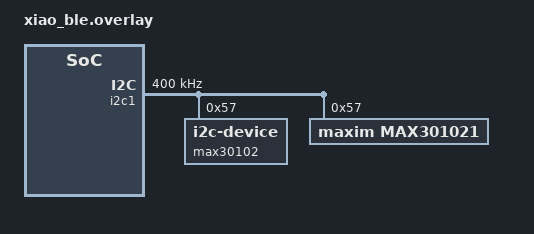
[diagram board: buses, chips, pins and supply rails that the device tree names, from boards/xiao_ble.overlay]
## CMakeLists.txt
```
list(APPEND EXTRA_ZEPHYR_MODULES
    ${CMAKE_CURRENT_SOURCE_DIR}/drivers
)    

cmake_minimum_required(VERSION 3.20.0)
find_package(Zephyr REQUIRED HINTS $ENV{ZEPHYR_BASE})

project(TimelapseSensor)

target_sources(app PRIVATE 
    src/main.c
    src/GenericCentralApp.c
    src/scs_client.c
    src/iir_filter.c)
```

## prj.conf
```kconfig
CONFIG_LOG=y
CONFIG_I2C=y
CONFIG_BOOT_DELAY=5000

CONFIG_BT=y
CONFIG_BT_PERIPHERAL=y
CONFIG_BT_CENTRAL=y
CONFIG_BT_DEVICE_NAME="TimelapseSensor"
CONFIG_BT_GATT_CLIENT=y
CONFIG_BT_GATT_DM=y
CONFIG_HEAP_MEM_POOL_SIZE=2048
CONFIG_MAIN_STACK_SIZE=1536

CONFIG_BT_SMP=y
CONFIG_BT_GATT_DM_DATA_PRINT=y
CONFIG_BT_SETTINGS=y
CONFIG_FLASH=y
CONFIG_FLASH_PAGE_LAYOUT=y
CONFIG_FLASH_MAP=y
CONFIG_NVS=y
CONFIG_SETTINGS=y
CONFIG_BT_KEYS_OVERWRITE_OLDEST=y

CONFIG_BT_SCAN=y
CONFIG_BT_SCAN_FILTER_ENABLE=y
CONFIG_CBPRINTF_FP_SUPPORT=y

CONFIG_STDOUT_CONSOLE=y

CONFIG_USB_DEVICE_PRODUCT="Zephyr CDC ACM sample"
CONFIG_USB_DEVICE_PID=0x0001

CONFIG_USB_DRIVER_LOG_LEVEL_ERR=y
CONFIG_USB_DEVICE_LOG_LEVEL_ERR=y

CONFIG_UART_INTERRUPT_DRIVEN=y
CONFIG_UART_LINE_CTRL=y
CONFIG_USB_DEVICE_INITIALIZE_AT_BOOT=y

CONFIG_MAX30102_DRIVER=y
CONFIG_APPLICATION_DEFINED_SYSCALL=y
```

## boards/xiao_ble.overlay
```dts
// To get started, press Ctrl+Space (or Option+Esc) to bring up the completion menu and view the available nodes.

// You can also use the buttons in the sidebar to perform actions on nodes.
// Actions currently available include:

// * Enabling / disabling the node
// * Adding the bus to a bus
// * Removing the node
// * Connecting ADC channels

// For more help, browse the DeviceTree documentation at https://docs.zephyrproject.org/latest/guides/dts/index.html
// You can also visit the nRF DeviceTree extension documentation at https://nrfconnect.github.io/vscode-nrf-connect/devicetree/nrfdevicetree.html

&i2c1{

    max30102: max30102@57{
        compatible = "i2c-device";
        reg = <0x57>;
    };

    max301021:max301021@57{
        compatible = "maxim,max301021";
        status = "okay";
        reg = <0x57>;
    };

    clock-frequency = <I2C_BITRATE_FAST>;
};
```

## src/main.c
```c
#include <zephyr/kernel.h>
#include <zephyr/drivers/i2c.h>
#include <zephyr/drivers/gpio.h>
#include <zephyr/logging/log.h>
#include <zephyr/bluetooth/bluetooth.h>
#include <zephyr/bluetooth/gap.h>
#include <zephyr/bluetooth/uuid.h>
#include <zephyr/settings/settings.h>
#include <zephyr/logging/log_instance.h>
#include <zephyr/shell/shell.h>
#include <zephyr/drivers/uart.h>
#include <zephyr/usb/usb_device.h>
#include <zephyr/sys/reboot.h>
#include <zephyr/sys/ring_buffer.h>
#include "GenericCentralApp.h"
#include "scs_client.h"
#include "iir_filter.h"
#include "max30102_driver_i2c.h"

#define I2C1_NODE DT_NODELABEL(max30102)
#define SENSOR_NODE DT_NODELABEL(max301021)
#define LED0_NODE DT_ALIAS(led0)
#define LED1_NODE DT_ALIAS(led1)
#define LED2_NONE DT_ALIAS(led2)
#define GPIO_BATTERY_READ_ENABLE 14
#define FOCUS_TIMEOUT K_MSEC(5000)

LOG_MODULE_REGISTER(Main, LOG_LEVEL_DBG);

static const struct gpio_dt_spec led_red = GPIO_DT_SPEC_GET(LED0_NODE, gpios);
static const struct gpio_dt_spec led_green = GPIO_DT_SPEC_GET(LED1_NODE, gpios);
static const struct gpio_dt_spec led_blue = GPIO_DT_SPEC_GET(LED2_NONE, gpios);
const struct device *const console_dev = DEVICE_DT_GET(DT_CHOSEN(zephyr_console));
const struct device *max30102_dev = DEVICE_DT_GET(SENSOR_NODE);
static const struct device *gpio_rdivider_en = DEVICE_DT_GET(DT_NODELABEL(gpio0));
static struct k_work_delayable scs_timeout;
static struct k_work_delayable proximity_timeout;

static struct bt_scs_client scs_client;

const bt_addr_t pheriphral_addr = {
	.val = {0x3a, 0xe0, 0xdb, 0xef, 0x40, 0xd0}};

const uint8_t pheriphral_manufacture_data_normal_mode[] = {0x2d, 0x01, 0x03, 0x00, 0x64, 0x00, 0x45, 0x31, 0x22, 0xaf, 0x00, 0x21, 0x60, 0x00, 0x00, 0x00, 0x00, 0x00, 0x00, 0x00, 0x00};
const uint8_t pheriphral_manufacture_data_pairing_mode[] = {0x2d, 0x01, 0x03, 0x00, 0x64, 0x00, 0x45, 0x31, 0x22, 0xef, 0x00, 0x21, 0x60, 0x00, 0x00, 0x00, 0x00, 0x00, 0x00, 0x00, 0x00};

#define DEVICE_NAME CONFIG_BT_DEVICE_NAME
#define DEVICE_NAME_LEN (sizeof(DEVICE_NAME) - 1)
#define BT_UUID_LBS_VAL BT_UUID_128_ENCODE(0x00001523, 0x1212, 0xefde, 0x1523, 0x785feabcd123)

static struct bt_le_adv_param *adv_param = BT_LE_ADV_PARAM((BT_LE_ADV_OPT_CONNECTABLE | BT_LE_ADV_OPT_USE_IDENTITY), 800, 801, NULL);

static const struct bt_data ad[] = {
    BT_DATA_BYTES(BT_DATA_FLAGS, (BT_LE_AD_NO_BREDR | BT_LE_AD_GENERAL)),
    BT_DATA(BT_DATA_NAME_COMPLETE, DEVICE_NAME, DEVICE_NAME_LEN),
};

static const struct bt_data sd[] = {
    BT_DATA_BYTES(BT_DATA_UUID128_ALL, BT_UUID_LBS_VAL),
};

#define RING_BUF_SIZE 1024
uint8_t ring_buffer[RING_BUF_SIZE];

struct ring_buf ringbuf;

static bool rx_throttled;
static uint8_t cmd;
static void  camera_ready(void);
static void camera_inactive(void);

const conn_context_t conn_context = {
        .srv_uuid_128 = "8000ff00-ff00-ffff-ffff-ffffffffffff",
        .scs_client = &scs_client,
        .device_ready = camera_ready,
        .device_inactive = camera_inactive
};

enum {
        SENSOR_STATUS_PROXIMITY,
        SENSOR_STATUS_FAR,
};

enum{
        TRIGGER_STATUS_INACTIVE,
        TRIGGER_STATUS_ACTIVE,
        TRIGGER_STATUS_READY
};

uint8_t trigger_status; 
uint8_t sensor_status;

static iir_filter_data_t *filt;

void mainloop(int err);

static void camera_ready(void)
{
        trigger_status = TRIGGER_STATUS_READY;
        sensor_status = SENSOR_STATUS_FAR;
}

static void camera_inactive(void)
{
        trigger_status = TRIGGER_STATUS_INACTIVE;
}

static void camera_cmd_sent(struct bt_scs_client *scs, uint8_t err,
					const uint8_t *const data, uint16_t len)
{
        
	ARG_UNUSED(scs);
	ARG_UNUSED(data);
	ARG_UNUSED(len);

	if (err) 
        {
		printk("ATT error code: 0x%02X\n", err);
	}
        else
        {
                LOG_HEXDUMP_INF(data,len,"cmd sent callback");
                printk("cmd send ok\n");
        }
}

static void scs_timeout_cb(struct k_work *item)
{
        uint8_t cmd[2];
        printk("Focus Timeout\n");
        cmd[0] = 0x01;
	cmd[1] = 0x08;
	bt_scs_client_send_camera_cmd(&scs_client, cmd,2);
        trigger_status = TRIGGER_STATUS_READY;
}
static uint8_t camera_status_received(struct bt_scs_client *scs,
						const uint8_t *data, uint16_t len)
{
	ARG_UNUSED(scs);
        uint8_t status[]= {0x02,0x3f,0x20};
        uint8_t cmd[2];

        //TODO: Proper state machine to serialize the gatt trigger 
        if (memcmp(data,status, len) == 0 && trigger_status == TRIGGER_STATUS_ACTIVE)
        {
                cmd[0] = 0x01;
	        cmd[1] = 0x09;
                bt_scs_client_send_camera_cmd(&scs_client, cmd,2);
        }
        status[2] = 0x40;
        if (memcmp(data,status, len) == 0 && trigger_status == TRIGGER_STATUS_ACTIVE)
        {
                cmd[0] = 0x01;
	        cmd[1] = 0x09;
                bt_scs_client_send_camera_cmd(&scs_client, cmd,2);
        }

        status[1] = 0xa0;
        status[2] = 0x20; 
        if(memcmp(data,status,len) == 0 && trigger_status == TRIGGER_STATUS_ACTIVE)
        {
                cmd[0] = 0x01;
	        cmd[1] = 0x08;
	        bt_scs_client_send_camera_cmd(&scs_client, cmd,2);
        }

        status[1] = 0xa0;
        status[2] = 0x00;
        if(memcmp(data,status,len) == 0 && trigger_status == TRIGGER_STATUS_ACTIVE)
        {
                cmd[0] = 0x01;
	        cmd[1] = 0x06;
	        bt_scs_client_send_camera_cmd(&scs_client, cmd,2);
                trigger_status = TRIGGER_STATUS_READY;
                k_work_cancel_delayable(&scs_timeout);
        }

        LOG_HEXDUMP_INF(data,len,"Received");
	return BT_GATT_ITER_CONTINUE;
}

struct bt_scs_client_init_param init = {
        .cb = {
                .received = camera_status_received,
                .sent = camera_cmd_sent}};

void device_found(const bt_addr_le_t *addr, const struct bt_le_conn_param *conn_param)
{    
        create_le_connnection(&conn_context, addr, conn_param);
}

const scan_context_t scan_context = {
        .pheriphral_addr = 
        {
                .val = {0x3a, 0xe0, 0xdb, 0xef, 0x40, 0xd0}
        },
        .pheriphral_manufacture_data_normal_mode = pheriphral_manufacture_data_normal_mode,
        .pheriphral_manufacture_data_pairing_mode = pheriphral_manufacture_data_pairing_mode,
        .pheriphral_manufacture_data_len = 21,
        .pheriphral_found = device_found
};

#define CALIBRATION_DURATION_MS 10000

void reset_to_uf2(void) {
  printk("resetting .. \n");      
  NRF_POWER->GPREGRET = 0x57; // 0xA8 OTA, 0x4e Serial
  sys_reboot(SYS_REBOOT_COLD);  // NVIC_SystemReset(); or sd_nvic_SystemReset();
}

static void proximity_timeout_cb(struct k_work *item)
{
       sensor_status = SENSOR_STATUS_FAR;
       max30102_reset(max30102_dev);
       k_msleep(10);
       max30102_configure(max30102_dev,7,20); 
}

void mainloop(int err)
{
        float high_point = 0 , low_point = 2000000;
        float proximity;
        uint32_t calibration_start = k_uptime_get_32() + 10000;
        uint32_t calibration_stop = k_uptime_get_32() + 30000;
        uint32_t current_time;

	
        while (1)
        {
                switch (cmd)
                {
                case 'r':
                        reset_to_uf2();
                        break;
                case 'h':
                        max30102_reset(max30102_dev);
                        k_msleep(10);
                        max30102_configure(max30102_dev,7,20);
                        calibration_start = k_uptime_get_32()+ 10000;
                        calibration_stop = k_uptime_get_32() + 20000;
                        high_point = 0;
                        low_point = 2000000;
                        iir_filter_reset(filt);
                        printk("Resetting, wait for 10s...");
                        break;
                case 'l':
                        max30102_reset(max30102_dev);
                        k_msleep(10);
                        max30102_configure(max30102_dev,7,15);
                        calibration_start = k_uptime_get_32()+ 10000;
                        calibration_stop = k_uptime_get_32() + 20000;
                        high_point = 0;
                        low_point = 2000000;
                        iir_filter_reset(filt);
                        printk("Resetting, wait for 10s...");
                        break;
                default:
                        break;
                }
                cmd = '\0';
                if (!err)
                {
                        proximity = max30102_read_ir_data(max30102_dev);
                        proximity = iir_filter(filt, proximity);

                        current_time = k_uptime_get_32();
                         
                        if(current_time > calibration_start && current_time < calibration_stop)
                        {
                                gpio_pin_set_dt(&led_blue,1);
                                gpio_pin_set_dt(&led_red, 0);
                                gpio_pin_set_dt(&led_green,0);
                                if(high_point < proximity)
                                {
                                        high_point = proximity;
                                }

                                if(low_point > proximity)
                                {
                                        low_point = proximity;
                                }

                                printk(">proximity : %f , high point : %f , low point : %f  trigger: %d,  sensor : %d\n", proximity,high_point,low_point, trigger_status,sensor_status);
                        }   
                        else if(current_time > calibration_stop && 
                               (((high_point -500) - (low_point+500)) > 500) && 
                               ((high_point-500) > (low_point+500)))         
                        {      
                                if(trigger_status == TRIGGER_STATUS_ACTIVE)
                                {
                                        gpio_pin_set_dt(&led_green,1);
                                        gpio_pin_set_dt(&led_red, 0);
                                        gpio_pin_set_dt(&led_blue,0);
                                }
                                else
                                {
                                        gpio_pin_set_dt(&led_blue,0);
                                        gpio_pin_set_dt(&led_red, 1);
                                        gpio_pin_set_dt(&led_green,0);
                                }
                                
                                if(proximity > (high_point - 500) && sensor_status == SENSOR_STATUS_FAR)
                                {       
                                        printk("extruder proximity detected\n");
                                        sensor_status = SENSOR_STATUS_PROXIMITY;
                                        k_work_schedule(&proximity_timeout,K_MSEC(10000));
                                        printk(">proximity : %f , high point : %f , low point : %f  trigger: %d,  sensor : %d\n", proximity,high_point,low_point, trigger_status,sensor_status);
                                        if(trigger_status == TRIGGER_STATUS_READY)
                                        {
                                                trigger_status = TRIGGER_STATUS_ACTIVE;
                                                k_work_schedule(&scs_timeout, FOCUS_TIMEOUT);
                                                bt_scs_trigger_capture(&scs_client);
                                        }
                                }
                                if(proximity < (low_point + 500) && sensor_status == SENSOR_STATUS_PROXIMITY)
                                {
                                        k_work_cancel_delayable(&proximity_timeout);
                                        printk(">proximity : %f , high point : %f , low point : %f  , trigger: %d,  sensor : %d\n", proximity,high_point,low_point, trigger_status,sensor_status);
                                        printk("extruder far \n");
                                        sensor_status = SENSOR_STATUS_FAR;
                                }
                        }     
                        else if(current_time > calibration_stop)
                        {
                            // if calibration failed increase calibration time by 10 s 
                            printk("calibration failed , retrying ..");   
                            calibration_stop =  k_uptime_get_32() + 10000;   
                        }
                }

                k_msleep(10);
        }
}

static void interrupt_handler(const struct device *dev, void *user_data)
{

	while (uart_irq_update(dev) && uart_irq_is_pending(dev)) {
		if (!rx_throttled && uart_irq_rx_ready(dev)) {
			int recv_len, rb_len;
			uint8_t buffer[64];
			size_t len = MIN(ring_buf_space_get(&ringbuf),
					 sizeof(buffer));

			if (len == 0) {
				/* Throttle because ring buffer is full */
				uart_irq_rx_disable(dev);
				rx_throttled = true;
				continue;
			}

			recv_len = uart_fifo_read(dev, buffer, len);
			if (recv_len < 0) {
				LOG_ERR("Failed to read UART FIFO");
				recv_len = 0;
			};

			rb_len = ring_buf_put(&ringbuf, buffer, recv_len);
			if (rb_len < recv_len) {
				LOG_ERR("Drop %u bytes", recv_len - rb_len);
			}
                        cmd = buffer[0];
			if (rb_len) {
				uart_irq_tx_enable(dev);
			}
		}

		if (uart_irq_tx_ready(dev)) {
			uint8_t buffer[64];
			int rb_len, send_len;

			rb_len = ring_buf_get(&ringbuf, buffer, sizeof(buffer));
			if (!rb_len) {
				uart_irq_tx_disable(dev);
				continue;
			}

			if (rx_throttled) {
				uart_irq_rx_enable(dev);
				rx_throttled = false;
			}

			send_len = uart_fifo_fill(dev, buffer, rb_len);
			if (send_len < rb_len) {
				LOG_ERR("Drop %d bytes", rb_len - send_len);
			}
		}
	}
}

static void list_bonded_devices(const struct bt_bond_info *info, void *user_data)
{
        char saddr[BT_ADDR_LE_STR_LEN];
        bt_addr_le_to_str(&(info->addr), saddr, sizeof(saddr));

        printk("Bound Device found: %s \n", saddr);
}

int main(void)
{
        int err;
        bt_addr_le_t addr;

        if(!device_is_ready(gpio_rdivider_en))
        {
                return 0;
        }
        /*** Very critical for battery charging ***/ 
        /*** see https://wiki.seeedstudio.com/XIAO_BLE/#q3-what-are-the-considerations-when-using-xiao-nrf52840-sense-for-battery-charging ***/      
        gpio_pin_configure(gpio_rdivider_en, GPIO_BATTERY_READ_ENABLE, GPIO_OUTPUT|GPIO_ACTIVE_LOW);
        gpio_pin_set(gpio_rdivider_en, GPIO_BATTERY_READ_ENABLE, 1);
        if (!device_is_ready(console_dev)) 
        {
		return 0;
	}
        /****************************************/       

        ring_buf_init(&ringbuf, sizeof(ring_buffer), ring_buffer);

        err = bt_enable(NULL);
        if (err)
        {

                printk("Bluetooth Failed !\n");
        }
        else
        {
                if(!gpio_is_ready_dt(&led_blue) ||  !gpio_is_ready_dt(&led_green) || !gpio_is_ready_dt(&led_red))
                {
                        return 0;
                }
                gpio_pin_configure_dt(&led_blue, GPIO_OUTPUT_ACTIVE);
                gpio_pin_configure_dt(&led_green, GPIO_OUTPUT_ACTIVE);
                gpio_pin_configure_dt(&led_red, GPIO_OUTPUT_ACTIVE);
                
                gpio_pin_set_dt(&led_blue,0);
                gpio_pin_set_dt(&led_red, 0);
                gpio_pin_set_dt(&led_green,0);

               /*       
                err = bt_addr_le_from_str("11:22:33:44:55:66","random",&addr);
                err = bt_id_create(&addr,NULL);

                err = bt_le_adv_start(BT_LE_ADV_NCONN, ad, ARRAY_SIZE(ad), sd, ARRAY_SIZE(sd));
                printk("Bluetooth Advertising !!\n");
                */

                /* TODO: Handle bonding removal , and multiple bonded devices */
                if (IS_ENABLED(CONFIG_SETTINGS))
                {
                        settings_load();
                }
                
                bt_foreach_bond(BT_ID_DEFAULT, list_bonded_devices, NULL);

                err = bt_scs_client_init(&scs_client, &init);

	        if (err != 0) 
                {
		        printk("bt_scs_client_init failed (err %d)", err);
		        return 0;
	        }

                scan_init(false, &scan_context);
                scan_start();

                filt = iir_filter_create(iir_2_coeff);
                iir_filter_reset(filt);

                max30102_configure(max30102_dev,7,20);
        }
        
        uart_irq_callback_set(console_dev, interrupt_handler);

	/* Enable rx interrupts */
        /* TODO: Gatt server can be used for reception of CMDs from phone */
	uart_irq_rx_enable(console_dev);
        
        k_work_init_delayable(&scs_timeout, scs_timeout_cb);
        k_work_init_delayable(&proximity_timeout, proximity_timeout_cb);
        mainloop(err);
        return 0;
}
```

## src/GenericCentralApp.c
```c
#include <zephyr/bluetooth/bluetooth.h>
#include <zephyr/bluetooth/conn.h>
#include <zephyr/bluetooth/uuid.h>
#include <bluetooth/scan.h>
#include <zephyr/logging/log.h>
#include <bluetooth/gatt_dm.h>
#include "scs_client.h"
#include "GenericCentralApp.h"

#define ADV_NAME_STR_MAX_LEN 25
#define ADV_MANUFACTURE_STRING 30

void scan_filter_match(struct bt_scan_device_info *device_info,
					   struct bt_scan_filter_match *filter_match,
					   bool connectable);
void scan_filter_no_match(struct bt_scan_device_info *device_info,
						  bool connectable);
void scan_connecting_error(struct bt_scan_device_info *device_info);
void scan_connecting(struct bt_scan_device_info *device_info,
					 struct bt_conn *conn);

LOG_MODULE_REGISTER(GenenicCentralApp, LOG_LEVEL_DBG);

BT_SCAN_CB_INIT(scan_cb, scan_filter_match, scan_filter_no_match, scan_connecting_error, scan_connecting);

static struct bt_conn *default_conn;
static scan_context_t default_scan_context;
static conn_context_t default_conn_context;

typedef struct
{
	char name[ADV_NAME_STR_MAX_LEN];
	uint8_t manufacturer_data[ADV_MANUFACTURE_STRING];
	uint8_t manufacturer_data_len;
} adv_data_t;

static bool adv_data_parse_cb(struct bt_data *data, void *user_data)
{
	adv_data_t *adv_data = user_data;

	uint8_t len;

	switch (data->type)
	{
	case BT_DATA_NAME_SHORTENED:
	case BT_DATA_NAME_COMPLETE:
		len = MIN(data->data_len, ADV_NAME_STR_MAX_LEN - 1);
		memcpy(adv_data->name, data->data, len);
		adv_data->name[len] = '\0';
		return false;
	case BT_DATA_MANUFACTURER_DATA:
		adv_data->manufacturer_data_len = data->data_len;
		memcpy(adv_data->manufacturer_data, data->data, data->data_len);
		return false;
	default:
		return true;
	}
}

void scan_filter_match(struct bt_scan_device_info *device_info, struct bt_scan_filter_match *filter_match, bool connectable)
{
	char addr[BT_ADDR_LE_STR_LEN];

	bt_addr_le_to_str(device_info->recv_info->addr, addr, sizeof(addr));

	if (filter_match->name.len == 0)
	{
		printk("Filters matched. Address: %s connectable: %d\n",
			   addr, connectable);
	}
	else
	{
		printk("Name %s Address: %s connectable: %d\n",
			   filter_match->name.name, addr, connectable);
	}
}

void scan_filter_no_match(struct bt_scan_device_info *device_info, bool connectable)
{
	char addr[BT_ADDR_LE_STR_LEN];
	adv_data_t data;
	bt_addr_le_to_str(device_info->recv_info->addr, addr, sizeof(addr));

	bt_data_parse(device_info->adv_data, adv_data_parse_cb, &data);
	if (bt_addr_cmp(&(device_info->recv_info->addr->a), &default_scan_context.pheriphral_addr) == 0)
	{
		if (memcmp(data.manufacturer_data, default_scan_context.pheriphral_manufacture_data_normal_mode, sizeof(default_scan_context.pheriphral_manufacture_data_len)) == 0 ||
			memcmp(data.manufacturer_data, default_scan_context.pheriphral_manufacture_data_normal_mode, sizeof(default_scan_context.pheriphral_manufacture_data_len)) == 0)
		{
			printk("Address: %s \n", addr);
			LOG_HEXDUMP_INF(data.manufacturer_data, data.manufacturer_data_len, "Manufacturer Data: ");
			bt_scan_stop();

			if(default_scan_context.pheriphral_found != NULL)
			{
				default_scan_context.pheriphral_found(device_info->recv_info->addr, device_info->conn_param);
			}
		
		}
	}
}
void scan_connecting_error(struct bt_scan_device_info *device_info)
{
}
void scan_connecting(struct bt_scan_device_info *device_info, struct bt_conn *conn)
{
}

void scan_init(bool filter, const scan_context_t *scan_context)
{
	struct bt_scan_init_param param = {
		.scan_param = NULL,
		.conn_param = BT_LE_CONN_PARAM_DEFAULT,
		.connect_if_match = 0};
	
	memcpy(&default_scan_context, scan_context, sizeof(scan_context_t));
	
	bt_scan_init(&param);
	bt_scan_cb_register(&scan_cb);

	if (filter)
	{
		int err = bt_scan_filter_add(BT_SCAN_FILTER_TYPE_UUID, BT_UUID_HRS);
		if (err)
		{
			printk("Scanning filters cannot be set (err %d)\n", err);
		}

		err = bt_scan_filter_enable(BT_SCAN_UUID_FILTER, false);
		if (err)
		{
			printk("Filters cannot be turned on (err %d)\n", err);
		}
	}
}

int scan_start(void)
{
	int err = bt_scan_start(BT_SCAN_TYPE_SCAN_ACTIVE);

	if (err)
	{
		printk("Scanning failed to start (err %d)\n", err);
	}

	return err;
}

void create_le_connnection(const conn_context_t *conn_context, const bt_addr_le_t *addr, const struct bt_le_conn_param *conn_param)
{
	int err;
	struct bt_conn *conn;
	
	memcpy(&default_conn_context, conn_context, sizeof(conn_context_t));

	err = bt_conn_le_create(addr, BT_CONN_LE_CREATE_CONN, conn_param, &conn);
	if (!err)
	{
		default_conn = bt_conn_ref(conn);
		bt_conn_unref(conn);
	}
}
static void discovery_completed_cb(struct bt_gatt_dm *dm,
								   void *context)
{
	char uuid_str[37];

	const struct bt_gatt_dm_attr *gatt_service_attr =
		bt_gatt_dm_service_get(dm);
	const struct bt_gatt_service_val *gatt_service =
		bt_gatt_dm_attr_service_val(gatt_service_attr);

	size_t attr_count = bt_gatt_dm_attr_cnt(dm);

	bt_uuid_to_str(gatt_service->uuid, uuid_str, sizeof(uuid_str));
	printk("Found service %s\n", uuid_str);
	printk("Attribute count: %d\n", attr_count);

	bt_gatt_dm_data_print(dm);

	if(strcmp(uuid_str, default_conn_context.srv_uuid_128) == 0)
	{
		if(context != NULL)
		{
			printk("Found SCS service");
			struct bt_scs_client *scs = context;
			bt_scs_handles_assign(dm,scs);
			bt_scs_subscribe_camera_status(scs);
		}
		else
		{
			printk("Context is NULL\n");
		}
	}

	bt_gatt_dm_data_release(dm);

	bt_gatt_dm_continue(dm, default_conn_context.scs_client);
}

static void discovery_service_not_found_cb(struct bt_conn *conn,
										   void *context)
{
	default_conn_context.device_ready();
	printk("The service could not be found during the discovery\n");
}

static void discovery_error_found_cb(struct bt_conn *conn,
									 int err,
									 void *context)
{
	printk("The discovery procedure failed with %d\n", err);
}

static const struct bt_gatt_dm_cb discovery_cb = {
	.completed = discovery_completed_cb,
	.service_not_found = discovery_service_not_found_cb,
	.error_found = discovery_error_found_cb,
};

static void exchange_func(struct bt_conn *conn, uint8_t err, struct bt_gatt_exchange_params *params)
{
	if (!err) {
		LOG_INF("MTU exchange done");
	} else {
		LOG_WRN("MTU exchange failed (err %" PRIu8 ")", err);
	}
}
static void connected(struct bt_conn *conn, uint8_t conn_err)
{
	int err;
	char addr[BT_ADDR_LE_STR_LEN];

	bt_addr_le_to_str(bt_conn_get_dst(conn), addr, sizeof(addr));

	if (conn_err)
	{
		printk("Failed to connect to %s (%u)\n", addr, conn_err);

		bt_conn_unref(default_conn);
		default_conn = NULL;

		scan_start();
		return;
	}

	if (conn != default_conn)
	{
		return;
	}

	printk("Connected: %s\n", addr);

	static struct bt_gatt_exchange_params exchange_params;

	exchange_params.func = exchange_func;
	err = bt_gatt_exchange_mtu(conn, &exchange_params);
	if (err) {
		LOG_WRN("MTU exchange failed (err %d)", err);
	}

	err = bt_conn_set_security(conn, BT_SECURITY_L2);
	if (err)
	{
		/* If we failed to enable security , start service discovery or else it will start on 
		   Security changed callback */
		printk("Failed to set security: %d\n", err);
		bt_gatt_dm_start(conn, NULL, &discovery_cb, default_conn_context.scs_client);
	}
}

static void disconnected(struct bt_conn *conn, uint8_t reason)
{
	char addr[BT_ADDR_LE_STR_LEN];

	if (conn != default_conn)
	{
		return;
	}

	bt_addr_le_to_str(bt_conn_get_dst(conn), addr, sizeof(addr));

	default_conn_context.device_inactive();
	printk("Disconnected: %s (reason 0x%02x)\n", addr, reason);

	bt_conn_unref(default_conn);
	default_conn = NULL;

	scan_start();
}

static void security_changed(struct bt_conn *conn, bt_security_t level,
							 enum bt_security_err err)
{
	char addr[BT_ADDR_LE_STR_LEN];

	bt_addr_le_to_str(bt_conn_get_dst(conn), addr, sizeof(addr));

	if (!err)
	{
		printk("Security changed: %s level %u\n", addr, level);
	}
	else
	{
		printk("Security failed: %s level %u err %d\n", addr, level,
			   err);
	}
	bt_gatt_dm_start(conn, NULL, &discovery_cb, default_conn_context.scs_client);
}

BT_CONN_CB_DEFINE(conn_callbacks) = {
	.connected = connected,
	.disconnected = disconnected,
	.security_changed = security_changed};
```

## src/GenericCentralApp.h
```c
#ifndef GENERIC_CENTRAL_APP_
#define GENERIC_CENTRAL_APP_

#ifdef __cplusplus
extern "C" {
#endif

#include <zephyr/bluetooth/gatt.h>
#include <zephyr/bluetooth/conn.h>
#include <bluetooth/gatt_dm.h>
#include "scs_client.h"

typedef struct 
{
    bt_addr_t pheriphral_addr;
    const uint8_t *pheriphral_manufacture_data_normal_mode; 
    const uint8_t *pheriphral_manufacture_data_pairing_mode;
    uint8_t pheriphral_manufacture_data_len;
    void (*pheriphral_found)(const bt_addr_le_t *addr, const struct bt_le_conn_param *conn_param);
}scan_context_t;

typedef struct 
{
    char *srv_uuid_128;
    struct bt_scs_client *scs_client;
    void (*device_ready)(void);
    void (*device_inactive)(void);
}conn_context_t;

void scan_init(bool filter, const scan_context_t *scan_context);

int scan_start(void);

void create_le_connnection(const conn_context_t *conn_context, const bt_addr_le_t *addr, const struct bt_le_conn_param *conn_param);

#ifdef __cplusplus
}
#endif

#endif /* GENERIC_CENTRAL_APP_ */
```

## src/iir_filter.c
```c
#include "iir_filter.h"
#include <stdlib.h>
#include <string.h>
#include <math.h>
#include <stdint.h>
#include <zephyr/kernel.h>

/* 2.5 Hz iir filter */
const iir_filter_coeff_t iir_2_coeff =
	{
		.a = {1.0, -1.77863178, 0.80080265},
		.b = {0.00554272, 0.01108543, 0.00554272},
		.g = 1};

iir_filter_data_t *iir_filter_create(iir_filter_coeff_t iir_2nd_order_coeff)
{

	iir_filter_data_t *filter_data = (iir_filter_data_t *)malloc(sizeof(iir_filter_data_t));
	if (filter_data == NULL)
		return NULL;

	filter_data->filter_length = 2;

	filter_data->iir_coeff = iir_2nd_order_coeff;

	filter_data->raw = (float *)malloc(sizeof(float) * filter_data->filter_length);
	if (filter_data->raw == NULL)
	{
		free(filter_data);
		return NULL;
	}
	filter_data->processed = (float *)malloc(sizeof(float) * filter_data->filter_length);
	if (filter_data->raw == NULL)
	{
		free(filter_data);
		return NULL;
	}

	filter_data->num_values_in = 0;

	return filter_data;
}

void iir_filter_reset(iir_filter_data_t *filter_data)
{
	uint8_t i;

	if (filter_data == NULL)
		return;

	for (i = 0; i < filter_data->filter_length; i++)
	{
		filter_data->raw[i] = 0;
		filter_data->processed[i] = 0;
	}

	filter_data->num_values_in = 0;
}

float iir_filter(iir_filter_data_t *filter_data, float new_value)
{
	float filtered_value = 0.0;

	float b0, b1, b2;
	float a1, a2;
	float G;

	if (filter_data == NULL)
	{
		printk("filter_data() NULL i/p\n");
		return 0;
	}

	b0 = filter_data->iir_coeff.b[0];
	b1 = filter_data->iir_coeff.b[1];
	b2 = filter_data->iir_coeff.b[2];
	a1 = filter_data->iir_coeff.a[1];
	a2 = filter_data->iir_coeff.a[2];
	G = filter_data->iir_coeff.g;

	if (filter_data->num_values_in == filter_data->filter_length)
	{
		filtered_value = G * (b0 * new_value + b1 * filter_data->raw[1] + b2 * filter_data->raw[0]) - a1 * filter_data->processed[1] - a2 * filter_data->processed[0];

		for (uint16_t index = 0; index < (filter_data->filter_length - 1); ++index)
		{
			filter_data->raw[index] = filter_data->raw[index + 1];
			filter_data->processed[index] = filter_data->processed[index + 1];
		}
	}
	else
	{
		filter_data->num_values_in++;
	}
	filter_data->raw[1] = new_value;
	filter_data->processed[1] = filtered_value;

	return filtered_value;
}

void iir_filter_destory(iir_filter_data_t **filter_data)
{
	if (*filter_data != NULL)
	{
		free((*filter_data)->raw);
		free((*filter_data)->processed);
		free(*filter_data);
		*filter_data = NULL;
	}
}
```

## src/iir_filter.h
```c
#ifndef _PPG_IIR_FILTER
#define _PPG_IIR_FILTER
#include <stdint.h>
#include <stdbool.h>
// 2nd order IIR filter with given coefficient
typedef struct
{
	float a[3];
	float b[3];
	float g;
} iir_filter_coeff_t;

typedef struct
{
	uint16_t filter_length;
	uint16_t num_values_in;

	iir_filter_coeff_t iir_coeff;

	float *raw;
	float *processed;

} iir_filter_data_t;

extern const iir_filter_coeff_t iir_2_coeff;

iir_filter_data_t *iir_filter_create(iir_filter_coeff_t iir_2nd_order_coeff); // For now the order is 2(fixed). sampling freq can be 193Hz, 50 Hz
void iir_filter_reset(iir_filter_data_t *filter_data);
float iir_filter(iir_filter_data_t *filter_data, float new_value);
void iir_filter_destory(iir_filter_data_t **filter_data);

void iir_filter_change_coeff(iir_filter_data_t *filter_data, iir_filter_coeff_t iir_2nd_order_coeff); // For now the order is 2(fixed). sampling freq can be 193Hz, 50 Hz

#endif
```

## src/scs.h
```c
#ifndef BT_SCS_H_
#define BT_SCS_H_

/**
 * @file
 * @defgroup bt_scs Nordic UART (SCS) GATT Service
 * @{
 * @brief Nordic UART (SCS) GATT Service API.
 */

#include <zephyr/types.h>
#include <zephyr/bluetooth/conn.h>
#include <zephyr/bluetooth/uuid.h>
#include <zephyr/bluetooth/gatt.h>

#ifdef __cplusplus
extern "C" {
#endif

/** @brief UUID of the SCS Service. **/
#define BT_UUID_SCS_VAL \
	BT_UUID_128_ENCODE(0x8000ff00, 0xff00, 0xffff, 0xffff, 0xffffffffffff)

/** @brief UUID of the camera command characteristic. **/
#define BT_UUID_SCS_CAMERA_CMD_VAL (0xff01)

/** @brief UUID of the camera staus characteristic. **/
#define BT_UUID_SCS_CAMERA_STATUS_VAL (0xff02)

#define BT_UUID_SCS_SERVICE         BT_UUID_DECLARE_128(BT_UUID_SCS_VAL)
#define BT_UUID_SCS_CAMERA_CMD      BT_UUID_DECLARE_16(BT_UUID_SCS_CAMERA_CMD_VAL)
#define BT_UUID_SCS_CAMERA_STATUS   BT_UUID_DECLARE_16(BT_UUID_SCS_CAMERA_STATUS_VAL)

/** @brief SCS send status. */
enum bt_scs_send_status {
	/** Send notification enabled. */
	BT_SCS_SEND_STATUS_ENABLED,
	/** Send notification disabled. */
	BT_SCS_SEND_STATUS_DISABLED,
};


/**@brief Get maximum data length that can be used for @ref bt_scs_send.
 *
 * @param[in] conn Pointer to connection Object.
 *
 * @return Maximum data length.
 */
static inline uint32_t bt_scs_get_mtu(struct bt_conn *conn)
{
	/* According to 3.4.7.1 Handle Value Notification off the ATT protocol.
	 * Maximum supported notification is ATT_MTU - 3 */
	return bt_gatt_get_mtu(conn) - 3;
}

#ifdef __cplusplus
}
#endif

/**
 *@}
 */

#endif /* BT_SCS_H_ */
```

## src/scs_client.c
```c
/*
 * Copyright (c) 2018 Nordic Semiconductor ASA
 *
 * SPDX-License-Identifier: LicenseRef-Nordic-5-Clause
 */

#include <zephyr/bluetooth/conn.h>
#include <zephyr/bluetooth/uuid.h>
#include <zephyr/bluetooth/gatt.h>

#include "scs.h"
#include "scs_client.h"

#include <zephyr/logging/log.h>

LOG_MODULE_REGISTER(scs_c, LOG_LEVEL_DBG);

enum {
	SCS_C_INITIALIZED,
	SCS_C_TX_NOTIF_ENABLED,
	SCS_C_RX_WRITE_PENDING
};

static uint8_t on_received(struct bt_conn *conn,
			struct bt_gatt_subscribe_params *params,
			const void *data, uint16_t length)
{
	struct bt_scs_client *scs;

	/* Retrieve SCS Client module context. */
	scs = CONTAINER_OF(params, struct bt_scs_client, camera_status_notif_params);

	if (!data) {
		LOG_DBG("[UNSUBSCRIBED]");
		params->value_handle = 0;
		atomic_clear_bit(&scs->state, SCS_C_TX_NOTIF_ENABLED);
		if (scs->cb.unsubscribed) {
			scs->cb.unsubscribed(scs);
		}
		return BT_GATT_ITER_STOP;
	}

	LOG_DBG("[NOTIFICATION] data %p length %u", data, length);
	if (scs->cb.received) {
		return scs->cb.received(scs, data, length);
	}

	return BT_GATT_ITER_CONTINUE;
}

static void on_sent(struct bt_conn *conn, uint8_t err,
		    struct bt_gatt_write_params *params)
{
	struct bt_scs_client *scs_c;
	const void *data;
	uint16_t length;

	/* Retrieve SCS Client module context. */
	scs_c = CONTAINER_OF(params, struct bt_scs_client, camera_cmd_write_params);

	/* Make a copy of volatile data that is required by the callback. */
	data = params->data;
	length = params->length;

	atomic_clear_bit(&scs_c->state, SCS_C_RX_WRITE_PENDING);
	if (scs_c->cb.sent) {
		scs_c->cb.sent(scs_c, err, data, length);
	}
}

int bt_scs_client_init(struct bt_scs_client *scs_c,
		       const struct bt_scs_client_init_param *scs_c_init)
{
	if (!scs_c || !scs_c_init) {
		return -EINVAL;
	}

	if (atomic_test_and_set_bit(&scs_c->state, SCS_C_INITIALIZED)) {
		return -EALREADY;
	}

	memcpy(&scs_c->cb, &scs_c_init->cb, sizeof(scs_c->cb));

	return 0;
}

int bt_scs_client_send_camera_cmd(struct bt_scs_client *scs_c, const uint8_t *data,
		       uint16_t len)
{
	int err;

	if (!scs_c->conn) {
		return -ENOTCONN;
	}

	if (atomic_test_and_set_bit(&scs_c->state, SCS_C_RX_WRITE_PENDING)) {
		return -EALREADY;
	}

	scs_c->camera_cmd_write_params.func = on_sent;
	scs_c->camera_cmd_write_params.handle = scs_c->handles.camera_cmd;
	scs_c->camera_cmd_write_params.offset = 0;
	scs_c->camera_cmd_write_params.data = data;
	scs_c->camera_cmd_write_params.length = len;

	err = bt_gatt_write(scs_c->conn, &scs_c->camera_cmd_write_params);
	if (err) {
		atomic_clear_bit(&scs_c->state, SCS_C_RX_WRITE_PENDING);
	}

	return err;
}

int bt_scs_handles_assign(struct bt_gatt_dm *dm,
			  struct bt_scs_client *scs_c)
{
	const struct bt_gatt_dm_attr *gatt_service_attr =
			bt_gatt_dm_service_get(dm);
	const struct bt_gatt_service_val *gatt_service =
			bt_gatt_dm_attr_service_val(gatt_service_attr);
	const struct bt_gatt_dm_attr *gatt_chrc;
	const struct bt_gatt_dm_attr *gatt_desc;

	if (bt_uuid_cmp(gatt_service->uuid, BT_UUID_SCS_SERVICE)) {
		return -ENOTSUP;
	}
	LOG_DBG("Getting handles from SCS service.");
	memset(&scs_c->handles, 0xFF, sizeof(scs_c->handles));

	/* SCS Camera Command Characteristic */
	gatt_chrc = bt_gatt_dm_char_by_uuid(dm, BT_UUID_SCS_CAMERA_CMD);
	if (!gatt_chrc) {
		LOG_ERR("Missing SCS Camera Command characteristic.");
		return -EINVAL;
	}
	/* SCS Camera Command Characteristic Descriptor  */
	gatt_desc = bt_gatt_dm_desc_by_uuid(dm, gatt_chrc, BT_UUID_SCS_CAMERA_CMD);
	if (!gatt_desc) {
		LOG_ERR("Missing SCSCamera Command value descriptor in characteristic.");
		return -EINVAL;
	}
	LOG_DBG("Found handle for SCS Camera Command characteristic.");
	scs_c->handles.camera_cmd = gatt_desc->handle;
	
	/* SCS Camera Status Characteristic */
	gatt_chrc = bt_gatt_dm_char_by_uuid(dm, BT_UUID_SCS_CAMERA_STATUS);
	if (!gatt_chrc) {
		LOG_ERR("Missing SCS Camera Status characteristic.");
		return -EINVAL;
	}
	/* SCS Camera Status Characteristic Descriptor */
	gatt_desc = bt_gatt_dm_desc_by_uuid(dm, gatt_chrc, BT_UUID_SCS_CAMERA_STATUS);
	if (!gatt_desc) {
		LOG_ERR("Missing SCS Camera Status value descriptor in characteristic.");
		return -EINVAL;
	}
	LOG_DBG("Found handle for SCS Camera Status characteristic.");
	scs_c->handles.camera_status = gatt_desc->handle;

    /* SCS Camera Status CCC */
	gatt_desc = bt_gatt_dm_desc_by_uuid(dm, gatt_chrc, BT_UUID_GATT_CCC);
	if (!gatt_desc) {
		LOG_ERR("Missing SCS Camera Status CCC in characteristic.");
		return -EINVAL;
	}
	LOG_DBG("Found handle for CCC of SCS Camera Status characteristic.");
	scs_c->handles.camera_status_ccc = gatt_desc->handle;

	/* Assign connection instance. */
	scs_c->conn = bt_gatt_dm_conn_get(dm);
	return 0;
}

int bt_scs_subscribe_camera_status(struct bt_scs_client *scs_c)
{
	int err;

	if (atomic_test_and_set_bit(&scs_c->state, SCS_C_TX_NOTIF_ENABLED)) {
		return -EALREADY;
	}

	scs_c->camera_status_notif_params.notify = on_received;
	scs_c->camera_status_notif_params.value = BT_GATT_CCC_NOTIFY;
	scs_c->camera_status_notif_params.value_handle = scs_c->handles.camera_status;
	scs_c->camera_status_notif_params.ccc_handle = scs_c->handles.camera_status_ccc;
	atomic_set_bit(scs_c->camera_status_notif_params.flags,
		       BT_GATT_SUBSCRIBE_FLAG_VOLATILE);

	err = bt_gatt_subscribe(scs_c->conn, &scs_c->camera_status_notif_params);
	if (err) {
		LOG_ERR("Subscribe failed (err %d)", err);
		atomic_clear_bit(&scs_c->state, SCS_C_TX_NOTIF_ENABLED);
	} else {
		LOG_DBG("[SUBSCRIBED]");
	}

	return err;
}

void bt_scs_trigger_capture(struct bt_scs_client *scs_c)
{
	uint8_t data[2];
	data[0] = 0x01;
	data[1] = 0x09; // 0x7
	bt_scs_client_send_camera_cmd(scs_c, data,2);
}
```

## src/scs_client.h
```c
#ifndef BT_SCS_CLIENT_H_
#define BT_SCS_CLIENT_H_

/**
 * @file
 * @defgroup bt_scs_client Bluetooth LE GATT SCS Client API
 * @{
 * @brief API for the Bluetooth LE GATT Sony Camera Service (SCS) Client.
 */

#ifdef __cplusplus
extern "C" {
#endif

#include <zephyr/bluetooth/gatt.h>
#include <zephyr/bluetooth/conn.h>
#include <bluetooth/gatt_dm.h>

/** @brief Handles on the connected peer device that are needed to interact with
 * the device.
 */
struct bt_scs_client_handles {

        /** Handle of the SCS camera cmd  characteristic, as provided by
	 *  a discovery.
         */
	uint16_t camera_cmd;

        /** Handle of the SCS camera staus  characteristic, as provided by
	 *  a discovery.
         */
	uint16_t camera_status;

        /** Handle of the CCC descriptor of the SCS Rx characteristic,
	 *  as provided by a discovery.
         */
	uint16_t camera_status_ccc;
};

struct bt_scs_client;

/** @brief SCS Client callback structure. */
struct bt_scs_client_cb {
	/** @brief Data received callback.
	 *
	 * The data has been received as a notification of the SCS camera staus 
	 * Characteristic.
	 *
	 * @param[in] scs  SCS Client instance.
	 * @param[in] data Received data.
	 * @param[in] len Length of received data.
	 *
	 * @retval BT_GATT_ITER_CONTINUE To keep notifications enabled.
	 * @retval BT_GATT_ITER_STOP To disable notifications.
	 */
	uint8_t (*received)(struct bt_scs_client *scs, const uint8_t *data, uint16_t len);

	/** @brief Data sent callback.
	 *
	 * The data has been sent and written to the SCS camera cmd  Characteristic.
	 *
	 * @param[in] scs  SCS Client instance.
	 * @param[in] err ATT error code.
	 * @param[in] data Transmitted data.
	 * @param[in] len Length of transmitted data.
	 */
	void (*sent)(struct bt_scs_client *scs, uint8_t err, const uint8_t *data, uint16_t len);

	/** @brief camera staus  notifications disabled callback.
	 *
	 * camera staus  notifications have been disabled.
	 *
	 * @param[in] scs  SCS Client instance.
	 */
	void (*unsubscribed)(struct bt_scs_client *scs);
};

/** @brief SCS Client structure. */
struct bt_scs_client {

        /** Connection object. */
	struct bt_conn *conn;

        /** Internal state. */
	atomic_t state;

        /** Handles on the connected peer device that are needed
         * to interact with the device.
         */
	struct bt_scs_client_handles handles;

        /** GATT subscribe parameters for SCS camera status Characteristic. */
	struct bt_gatt_subscribe_params camera_status_notif_params;

        /** GATT write parameters for SCS camera cmd Characteristic. */
	struct bt_gatt_write_params camera_cmd_write_params;

        /** Application callbacks. */
	struct bt_scs_client_cb cb;
};

/** @brief SCS Client initialization structure. */
struct bt_scs_client_init_param {

        /** Callbacks provided by the user. */
	struct bt_scs_client_cb cb;
};

/** @brief Initialize the SCS Client module.
 *
 * This function initializes the SCS Client module with callbacks provided by
 * the user.
 *
 * @param[in,out] scs    SCS Client instance.
 * @param[in] init_param SCS Client initialization parameters.
 *
 * @retval 0 If the operation was successful.
 *           Otherwise, a negative error code is returned.
 */
int bt_scs_client_init(struct bt_scs_client *scs,
		       const struct bt_scs_client_init_param *init_param);

/** @brief Send data to the server.
 *
 * This function writes to the camera cmd  Characteristic of the server.
 *
 * @note This procedure is asynchronous. Therefore, the data to be sent must
 * remain valid while the function is active.
 *
 * @param[in,out] scs SCS Client instance.
 * @param[in] data Data to be transmitted.
 * @param[in] len Length of data.
 *
 * @retval 0 If the operation was successful.
 *           Otherwise, a negative error code is returned.
 */
int bt_scs_client_send_camera_cmd(struct bt_scs_client *scs, const uint8_t *data,
		       uint16_t len);

/** @brief Assign handles to the SCS Client instance.
 *
 * This function should be called when a link with a peer has been established
 * to associate the link to this instance of the module. This makes it
 * possible to handle several links and associate each link to a particular
 * instance of this module. The GATT attribute handles are provided by the
 * GATT DB discovery module.
 *
 * @param[in] dm Discovery object.
 * @param[in,out] scs SCS Client instance.
 *
 * @retval 0 If the operation was successful.
 * @retval (-ENOTSUP) Special error code used when UUID
 *         of the service does not match the expected UUID.
 * @retval Otherwise, a negative error code is returned.
 */
int bt_scs_handles_assign(struct bt_gatt_dm *dm,
			  struct bt_scs_client *scs);

/** @brief Request the peer to start sending notifications for the camera staus 
 *	   Characteristic.
 *
 * This function enables notifications for the SCS camera staus  Characteristic at the peer
 * by writing to the CCC descriptor of the SCS camera staus  Characteristic.
 *
 * @param[in,out] scs SCS Client instance.
 *
 * @retval 0 If the operation was successful.
 *           Otherwise, a negative error code is returned.
 */
int bt_scs_subscribe_camera_status(struct bt_scs_client *scs);

void bt_scs_trigger_capture(struct bt_scs_client *scs_c);

#ifdef __cplusplus
}
#endif

/**
 * @}
 */

#endif /* BT_SCS_CLIENT_H_ */
```
